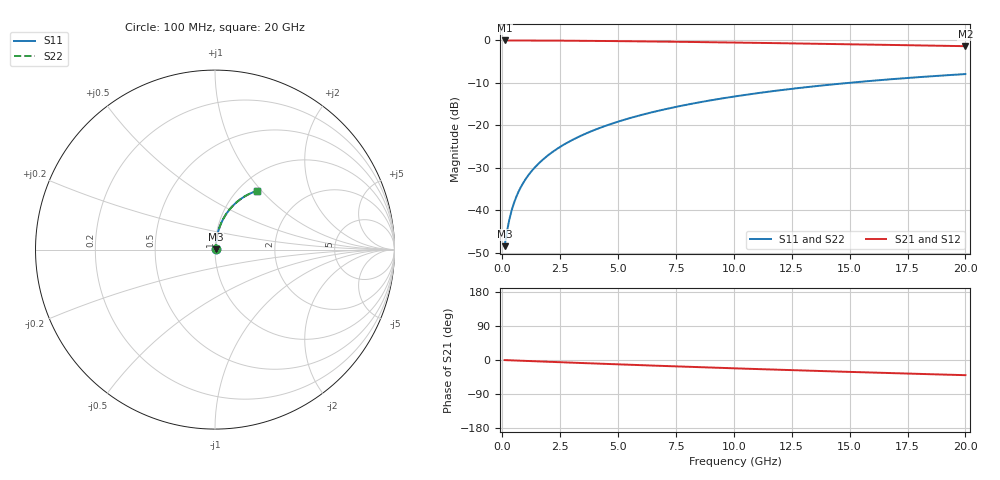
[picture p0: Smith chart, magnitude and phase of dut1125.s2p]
! Touchstone file exported from HFSS 2024.1.0
!  File:  C:/UserFiles/LocalFiles/RDL_TSV_Batchsim/temp_RDL_top_1125_1780047211.aedt
!  Generated:  05:35:25 PM May 29, 2026
!  Design:  RDL_top
!  Project:  temp_RDL_top_1125_1780047211
!  Setup:  Setup1
!  Solution:  Sweep
! Variables:
!  dtsv = 10.80580581um
!  hbump = 3um
!  htsv = 85.57um
!  ldown = 100um
!  lrdl = 564.72um
!  p = 40
!  p1 = 44.26um
!  rhole = 1um
!  t = 450um
!  tdown = 3.915915916um
!  trdl = 4.65um
!  wdown = 15.38538539um
!  wrdl = 15.07um
# GHz S MA R 50.000000
! Terminal data exported
! Port[1] = Box2_T1
! Port[2] = Box2_T2
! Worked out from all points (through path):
!   200 points, 100 MHz to 20 GHz, reference 50 ohm
!   highest |S21| = -0.03 dB at 100 MHz (marker M1); lowest = -1.4 dB at 20 GHz (marker M2)
!   group delay of S21, straight-line fit = 5.54 ps
!   lowest |S11| = -48.5 dB at 100 MHz (marker M3), VSWR 1.01, Z = 50.3 + j0.236 ohm
!   |S11| at or under -10 dB: start of sweep to 14.98 GHz
!   |S22| runs from -48.5 to -7.9 dB; largest |S21 - S12| = 3.8e-15
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0.1  0.003773 38.5  0.997 -0.2  0.997 -0.2  0.003773 38.5
! Gamma 0 0 0 0
! Port Impedance 50 0 50 0
0.2  0.005578 57.3  0.9969 -0.5  0.9969 -0.5  0.005578 57.3
0.3  0.007676 66.0  0.9968 -0.7  0.9968 -0.7  0.007676 66.0
0.4  0.009863 70.8  0.9967 -1.0  0.9967 -1.0  0.009864 70.8
0.5  0.01207 73.6  0.9965 -1.2  0.9965 -1.2  0.01208 73.6
0.6  0.01429 75.5  0.9964 -1.4  0.9964 -1.4  0.01429 75.5
0.8  0.0187 77.9  0.9961 -1.9  0.9961 -1.9  0.0187 77.9
1.1  0.02525 79.7  0.9956 -2.6  0.9956 -2.6  0.02526 79.7
1.5  0.03396 81.0  0.9947 -3.5  0.9947 -3.5  0.03396 81.0
1.8  0.04048 81.4  0.994 -4.2  0.994 -4.2  0.04048 81.4
2.1  0.04701 81.7  0.9931 -4.9  0.9931 -4.9  0.04701 81.7
2.7  0.06008 81.7  0.991 -6.3  0.991 -6.3  0.06009 81.7
3.5  0.07755 81.2  0.9875 -8.1  0.9875 -8.1  0.07755 81.2
4.2  0.09285 80.5  0.984 -9.7  0.984 -9.7  0.09284 80.5
5  0.1103 79.6  0.9794 -11.5  0.9794 -11.5  0.1103 79.6
5.9  0.13 78.3  0.9737 -13.4  0.9737 -13.4  0.1299 78.3
6.8  0.1495 77.0  0.9675 -15.4  0.9675 -15.4  0.1495 77.0
8.4  0.184 74.4  0.9555 -18.7  0.9555 -18.7  0.1839 74.4
10.1  0.2199 71.6  0.9419 -22.1  0.9419 -22.1  0.2198 71.6
13.4  0.2863 65.8  0.9135 -28.5  0.9135 -28.5  0.2862 65.8
16.7  0.3469 60.1  0.8838 -34.4  0.8838 -34.4  0.3468 60.1
20  0.4007 54.6  0.8538 -40.0  0.8538 -40.0  0.4006 54.6
